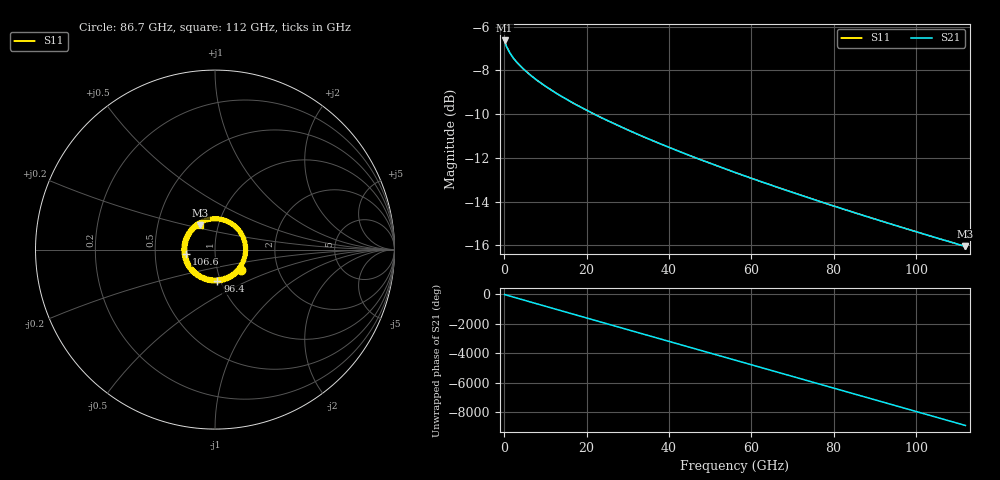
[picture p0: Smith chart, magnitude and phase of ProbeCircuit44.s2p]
! File created by SignalIntegrity v1.3.3: Signal and Power Integrity Tools
! https://github.com/TeledyneLeCroy/SignalIntegrity
# MHz S MA R 50.0
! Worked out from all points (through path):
!   1120 points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, 100 MHz to 112 GHz, reference 50 ohm
!   highest |S21| = -6.63 dB at 100 MHz (marker M1); lowest = -16.0 dB at 112 GHz (marker M2)
!   group delay of S21, straight-line fit = 220 ps
!   lowest |S11| = -16.0 dB at 112 GHz (marker M3), VSWR 1.37, Z = 41.1 + j11.4 ohm
!   |S11| at or under -10 dB: 21.86 GHz to end of sweep
!   S12 and S22 are empty: the file has one direction only
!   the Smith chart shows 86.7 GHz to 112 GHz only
!   S11 on the Smith chart (normalised r, x): 86.7 GHz: 1.30, -0.31; 96.4 GHz: 0.97, -0.35; 106.6 GHz: 0.72, -0.03; 112 GHz: 0.82, +0.23
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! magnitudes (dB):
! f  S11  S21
! 100 MHz  -6.6  -6.6
! 1.3 GHz  -7.2  -7.2
! 2.3 GHz  -7.5  -7.5
! 4 GHz  -7.8  -7.8
! 6.1 GHz  -8.2  -8.2
! 8.5 GHz  -8.5  -8.5
! 12 GHz  -9.0  -9.0
! 15.1 GHz  -9.3  -9.3
! 18.8 GHz  -9.7  -9.7
! 26.4 GHz  -10.4  -10.4
! 30.8 GHz  -10.8  -10.8
! 37.4 GHz  -11.3  -11.3
! 46.6 GHz  -12.0  -12.0
! 56.1 GHz  -12.7  -12.7
! 64.9 GHz  -13.3  -13.3
! 74.7 GHz  -13.9  -13.9
! 86.7 GHz  -14.6  -14.6
! 93.4 GHz  -15.0  -15.0
! 96.4 GHz  -15.2  -15.2
! 106.6 GHz  -15.8  -15.8
! 110.8 GHz  -16.0  -16.0
! 112 GHz  -16.0  -16.0
